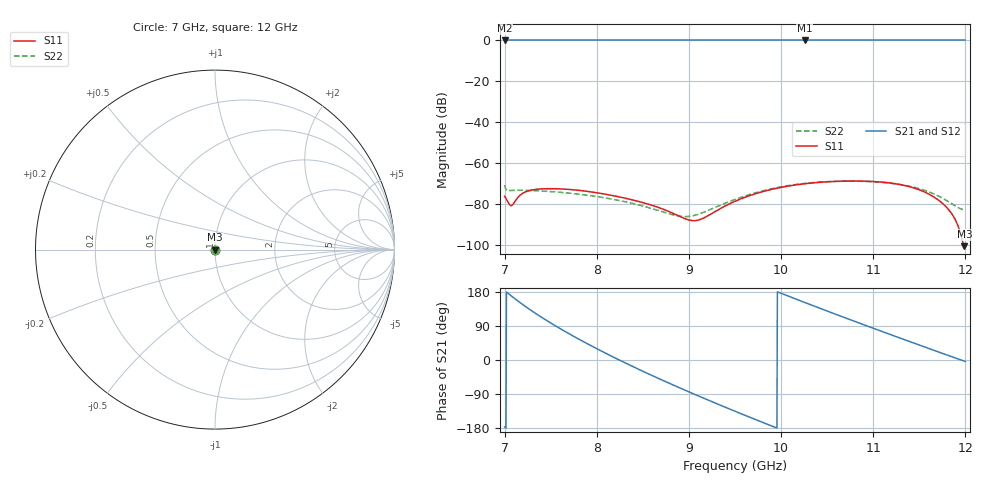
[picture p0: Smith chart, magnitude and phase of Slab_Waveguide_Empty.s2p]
! TOUCHSTONE file generated by CST MICROWAVE STUDIO
! Date and time: Thu Nov 19 22:32:59 2026
! Project name: Slab_Waveguide_9GHz.cst
! Parameters = {eps_r=1; l_slab=25; t_slab=3; length=60; b=10.16; a=22.86}
! Header version: 2024
! Port assignment regex: !\s*Touchstone port\s*([0-9]+)\s*=\s*(CST MWS port|CST DES external port|CST DES block port)\s*(.+)\s* \(\"(.*)\"\)(\s*mode\s*([0-9]+))?.*
! Touchstone port assignment:
! Touchstone port 1 = CST MWS port 1 ("")
! Touchstone port 2 = CST MWS port 2 ("")
! S-Parameters are not renormalized. Unphysical impedance of 50 will be written to the file.
# GHz S DB R 50
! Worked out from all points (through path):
!   1001 points, 7 GHz to 12 GHz, reference per port
!   highest |S21| = 0.00 dB at 10.26 GHz (marker M1); lowest = 0.0 dB at 7 GHz (marker M2)
!   lowest |S11| = -100.5 dB at 11.99 GHz (marker M3), VSWR 1.00
!   |S11| at or under -10 dB: start of sweep to end of sweep
!   |S22| runs from -86.1 to -68.7 dB; largest |S21 - S12| = 3.8e-05
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7  -76.13 -31.5  -0.00 -176.5  -0.00 -176.5  -70.72 -14.4
7.075  -80.68 -3.0  -0.00 168.6  -0.00 168.6  -73.30 6.3
7.215  -74.24 9.6  -0.00 143.1  -0.00 143.1  -73.24 3.3
7.41  -72.52 -18.2  -0.00 111.3  -0.00 111.3  -73.61 -8.0
7.61  -72.56 -45.1  -0.00 81.8  -0.00 81.8  -74.25 -22.2
7.835  -73.39 -76.1  -0.00 51.1  -0.00 51.1  -75.29 -40.3
8.035  -74.67 -104.0  -0.00 25.5  -0.00 25.5  -76.54 -57.5
8.235  -76.37 -131.4  -0.00 1.1  -0.00 1.1  -78.15 -74.6
8.44  -78.51 -159.0  -0.00 -22.9  -0.00 -22.9  -80.22 -90.1
8.67  -81.64 168.3  -0.00 -48.7  -0.00 -48.7  -83.13 -100.4
9.075  -88.03 63.0  -0.00 -92.0  -0.00 -92.0  -85.32 -73.7
9.355  -81.79 -16.2  -0.00 -120.7  -0.00 -120.7  -80.24 -65.6
9.5  -78.60 -38.5  -0.00 -135.2  -0.00 -135.2  -77.69 -71.2
9.875  -73.01 -82.1  -0.00 -171.9  -0.00 -171.9  -72.72 -97.3
10.255  -70.03 -119.8  -0.00 152.0  -0.00 152.0  -69.86 -129.8
10.335  -69.65 -127.2  -0.00 144.5  -0.00 144.5  -69.51 -136.8
10.76  -68.71 -164.6  -0.00 105.4  -0.00 105.4  -68.74 -173.3
11.17  -69.58 158.2  -0.00 68.6  -0.00 68.6  -69.68 149.7
11.6  -75.01 114.7  -0.00 30.6  -0.00 30.6  -73.94 99.5
11.77  -80.39 100.2  -0.00 15.8  -0.00 15.8  -77.56 70.3
11.99  -100.53 166.6  -0.00 -3.1  -0.00 -3.1  -82.86 0.7
12  -99.82 -172.3  -0.00 -4.0  -0.00 -4.0  -82.93 -3.6
